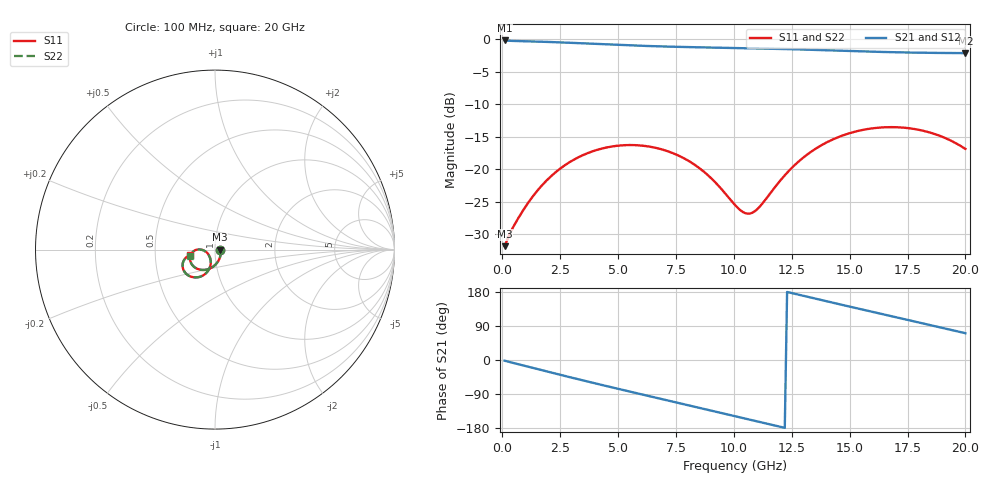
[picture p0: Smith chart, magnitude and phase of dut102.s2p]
! Touchstone file exported from HFSS 2026.1.0
!  File:  C:/ffzhzh/LocalFiles/Ansys_Project_Files/temp_train_TSV_RDL_102_1783044517_17544.aedt
!  Generated:  10:17:32 AM Jul  3, 2026
!  Design:  TSV_RDL
!  Project:  temp_train_TSV_RDL_102_1783044517_17544
! Variables:
!  h_bsmrdl = 4.46um
!  h_ox = 20um
!  h_rdl = 5um
!  h_sub = 65.36um
!  h_tmrdl = 5.84um
!  h_tsv = 65.36um
!  h_via = 3um
!  l_bsmrdl = 164.65um
!  l_sub = 4901.3um
!  l_tmrdl = 982.06um
!  m_sub = 200um
!  pitch = 17.84um
!  r_tsv = 3.03um
!  s_tmrdl = 10um
!  w_bsmrdl = 10.78um
!  w_sub = 500um
!  w_tmrdl = 15.59um
!  x_tsv_center1 = 989.855um
!  x_tsv_center2 = 1165.285um
!  x_tsv_center3 = 2162.935um
!  x_tsv_center4 = 2338.365um
!  x_tsv_center5 = 3336.015um
!  x_tsv_center6 = 3511.445um
# GHz S MA R 50.000000
! Terminal data exported
! Port[1] = TM_RDL1_1_T1
! Port[2] = TM_RDL5_1_T1
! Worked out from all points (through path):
!   200 points, 100 MHz to 20 GHz, reference 50 ohm
!   highest |S21| = -0.22 dB at 100 MHz (marker M1); lowest = -2.2 dB at 20 GHz (marker M2)
!   group delay of S21, straight-line fit = 39.9 ps
!   lowest |S11| = -31.9 dB at 100 MHz (marker M3), VSWR 1.05, Z = 52.6 - j0.0792 ohm
!   |S11| at or under -10 dB: start of sweep to end of sweep
!   |S22| runs from -31.9 to -13.5 dB; largest |S21 - S12| = 3.8e-14
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0.1  0.02553 -1.7  0.9745 -1.8  0.9745 -1.8  0.02553 -1.7
! Gamma 0 0 0 0
! Port Impedance 50 0 50 0
0.7  0.04218 -42.1  0.9634 -11.3  0.9634 -11.3  0.0422 -42.1
1.6  0.07109 -78.5  0.9541 -25.2  0.9541 -25.2  0.07115 -78.5
2.5  0.1008 -99.8  0.9419 -39.0  0.9419 -39.0  0.1009 -99.7
3.5  0.1284 -118.2  0.9258 -54.1  0.9258 -54.1  0.1285 -118.0
4.3  0.1437 -131.0  0.9124 -65.9  0.9124 -65.9  0.144 -130.8
5.1  0.1518 -142.7  0.8997 -77.5  0.8997 -77.5  0.1521 -142.6
5.9  0.1521 -153.6  0.8883 -89.0  0.8883 -89.0  0.1524 -153.4
6.8  0.143 -164.7  0.8776 -101.8  0.8776 -101.8  0.1434 -164.4
7.7  0.1247 -174.0  0.869 -114.5  0.869 -114.5  0.1252 -173.6
8.5  0.102 -179.7  0.863 -125.9  0.863 -125.9  0.1026 -179.3
9.2  0.07898 179.5  0.8584 -135.9  0.8584 -135.9  0.07969 180.0
10.1  0.05179 -166.6  0.8528 -148.8  0.8528 -148.8  0.05274 -166.2
10.5  0.04574 -150.7  0.8503 -154.5  0.8503 -154.5  0.04675 -150.6
10.9  0.0473 -131.9  0.8476 -160.3  0.8476 -160.3  0.0482 -132.4
12.1  0.08542 -106.5  0.8382 -177.6  0.8382 -177.6  0.08584 -106.9
13.4  0.1383 -110.3  0.8256 163.7  0.8256 163.7  0.1386 -110.5
15.1  0.1909 -125.7  0.8074 139.5  0.8074 139.5  0.1912 -125.7
16.7  0.21 -142.1  0.7927 117.1  0.7927 117.1  0.2105 -141.9
17.6  0.2056 -150.9  0.7866 104.5  0.7866 104.5  0.2062 -150.6
18.4  0.1924 -158.1  0.7829 93.3  0.7829 93.3  0.1931 -157.7
20  0.1428 -167.3  0.7787 70.7  0.7787 70.7  0.1442 -166.7
